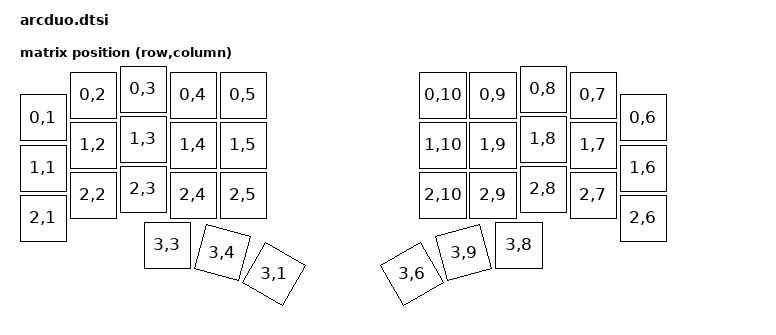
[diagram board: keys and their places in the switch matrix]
#include <dt-bindings/zmk/matrix_transform.h>
#include <dt-bindings/zmk/input_transform.h>
#include <physical_layouts.dtsi>
#include <input/processors.dtsi>

// Axis-locked scrolling. kot149/zmk-scroll-snap, pinned in config/west.yml.
#include <scroll-snap.dtsi>

// Layer names for the per-layer listener children below. The path is relative
// on purpose: this file is a shield, and the shield directory is not
// necessarily on the devicetree include path, whereas "../../../config/..."
// resolves the same way in CI, in the Docker recipe in README.md, and when this
// repo is consumed as a ZMK module.
#include "../../../config/arcduo_layers.h"

/ {
  chosen {
    zmk,kscan = &kscan0;
    zmk,physical-layout = &default_layout;
  };

  default_layout: default_layout {
    compatible = "zmk,physical-layout";
    display-name = "Default";
    transform = <&default_transform>;
    keys  //                     w   h    x    y     rot    rx    ry
        = <&key_physical_attrs 100 100    0   57       0     0     0>
        , <&key_physical_attrs 100 100  100   12       0     0     0>
        , <&key_physical_attrs 100 100  200    0       0     0     0>
        , <&key_physical_attrs 100 100  300   12       0     0     0>
        , <&key_physical_attrs 100 100  400   12       0     0     0>
        , <&key_physical_attrs 100 100  800   12       0     0     0>
        , <&key_physical_attrs 100 100  900   12       0     0     0>
        , <&key_physical_attrs 100 100 1000    0       0     0     0>
        , <&key_physical_attrs 100 100 1100   12       0     0     0>
        , <&key_physical_attrs 100 100 1200   57       0     0     0>
        , <&key_physical_attrs 100 100    0  158       0     0     0>
        , <&key_physical_attrs 100 100  100  112       0     0     0>
        , <&key_physical_attrs 100 100  200  100       0     0     0>
        , <&key_physical_attrs 100 100  300  112       0     0     0>
        , <&key_physical_attrs 100 100  400  112       0     0     0>
        , <&key_physical_attrs 100 100  800  112       0     0     0>
        , <&key_physical_attrs 100 100  900  112       0     0     0>
        , <&key_physical_attrs 100 100 1000  100       0     0     0>
        , <&key_physical_attrs 100 100 1100  112       0     0     0>
        , <&key_physical_attrs 100 100 1200  158       0     0     0>
        , <&key_physical_attrs 100 100    0  258       0     0     0>
        , <&key_physical_attrs 100 100  100  212       0     0     0>
        , <&key_physical_attrs 100 100  200  200       0     0     0>
        , <&key_physical_attrs 100 100  300  212       0     0     0>
        , <&key_physical_attrs 100 100  400  212       0     0     0>
        , <&key_physical_attrs 100 100  800  212       0     0     0>
        , <&key_physical_attrs 100 100  900  212       0     0     0>
        , <&key_physical_attrs 100 100 1000  200       0     0     0>
        , <&key_physical_attrs 100 100 1100  212       0     0     0>
        , <&key_physical_attrs 100 100 1200  258       0     0     0>
        , <&key_physical_attrs 100 100  248  312       0     0     0>
        , <&key_physical_attrs 100 100  248  312    1500   298   790>
        , <&key_physical_attrs 100 100  248  312    3000   298   790>
        , <&key_physical_attrs 100 100  952  312 (-3000)  1002   790>
        , <&key_physical_attrs 100 100  952  312 (-1500)  1002   790>
        , <&key_physical_attrs 100 100  952  312       0     0     0>
        ;
    };

  default_transform: keymap_transform0 {
    compatible = "zmk,matrix-transform";
    columns = <10>;
    rows = <4>;
    map = <
RC(0,1) RC(0,2) RC(0,3) RC(0,4) RC(0,5)  RC(0,10) RC(0,9) RC(0,8) RC(0,7) RC(0,6)
RC(1,1) RC(1,2) RC(1,3) RC(1,4) RC(1,5)  RC(1,10) RC(1,9) RC(1,8) RC(1,7) RC(1,6)
RC(2,1) RC(2,2) RC(2,3) RC(2,4) RC(2,5)  RC(2,10) RC(2,9) RC(2,8) RC(2,7) RC(2,6)
        RC(3,3) RC(3,4) RC(3,1)  RC(3,6) RC(3,9) RC(3,8)
    >;
  };

  kscan0: kscan {
    diode-direction = "row2col";

    // Required for CONFIG_ZMK_SLEEP=y to be usable: without this the matrix
    // GPIOs are not configured as wakeup sources, so a half that has entered
    // deep sleep cannot be woken by pressing a key.
    wakeup-source;
  };
};


/ {
  split_inputs {
    #address-cells = <1>;
    #size-cells = <0>;

    trackball_split: trackball_split@0 {
      compatible = "zmk,input-split";
      reg = <0>;
    };
    trackball_split2: trackball_split2@1 {
      compatible = "zmk,input-split";
      reg = <1>;
    };
  };

  // No auto-mouse layer.
  //
  // A zip_temp_layer instance used to sit at the end of the cursor ball's
  // processor chain, switching to the MOUSE layer on any motion. It was
  // removed because zip_temp_layer reacts to *any* input event, including
  // the single-count jitter a sensitive optical sensor produces from desk
  // vibration -- so the layer changed under you at random.
  //
  // Guarding it with require-prior-idle-ms only covered vibration that
  // happened just after a keystroke, not while the board sat idle, and the
  // alternative (desensitising the sensor) cost pointer responsiveness.
  // Dropping the auto-layer keeps the sensor fast: jitter now shows up as
  // harmless sub-pixel cursor noise instead of a layer change.
  //
  // The MOUSE layer is unchanged. It is now a toggle rather than a hold --
  // hold EXTRAS on the right inner thumb (33) and tap the left-click thumb
  // (31) to lock it on, tap 33 to leave -- but nothing in this file depends on
  // how it is reached, only on whether it is active.

  trackball_listener: trackball_listener {
    compatible = "zmk,input-listener";
    status = "disabled";
    device = <&trackball_split>;
    input-processors =
        <&zip_xy_transform (INPUT_TRANSFORM_Y_INVERT | INPUT_TRANSFORM_X_INVERT | INPUT_TRANSFORM_XY_SWAP)>,
        <&zip_xy_scaler 2 3>;

    // Snipe mode: while the MOUSE layer is on (hold 33, tap 31) the cursor
    // ball slows to a quarter speed for pixel work. The mouse buttons on that
    // layer sit under the left hand, so you can snipe and click at the same
    // time -- and because MOUSE is a toggle rather than a hold, no thumb is
    // tied up holding it.
    //
    // `process-next` is required, not cosmetic: without it the base
    // processors above are skipped entirely (input_listener.c returns early),
    // which would drop zip_xy_transform and leave the axes inverted/swapped
    // while sniping. With it, the override runs first and the base chain
    // still runs, so the ratios multiply:
    //     1200 CPI * 1/4 (here) * 2/3 (base) = 200 CPI effective
    //
    // This was previously dead code gated on layer 6, and used 1/16 -- which
    // would have compounded to ~50 CPI, far too slow to be usable.
    // Both scalers track remainders, so slow movement accumulates rather
    // than being rounded away.
    precision {
      layers = <L_MOUSE>;
      input-processors = <&zip_xy_scaler 1 4>;
      process-next;
    };

    // There is deliberately no NAV override on this ball any more.
    //
    // A `scroll` child used to sit here, turning the cursor ball into a scroll
    // wheel whenever NAV was held, mirroring the UHK's TrackballRight
    // (navigationModeModLayer = "Scroll"). Its twin on the other listener made
    // the left ball the pointer, so the two swapped roles on NAV exactly as the
    // UHK does on its Mod layer.
    //
    // Removed, because it was parity for its own sake and it cost real
    // function. It added no capability: BASE already gives scroll and pointer
    // at the same time, one on each ball, so the swap only exchanged which hand
    // did which. What it did do was make click-and-drag impossible -- holding
    // the left-click thumb raises NAV, so the ball you were dragging with
    // turned into a scroll wheel mid-gesture.
    //
    // Keeping both was possible: a flag layer raised alongside NAV, given
    // priority over the swap by declaration order. It worked and was dropped as
    // not worth a whole layer plus two listener children to preserve a
    // behaviour nobody used. Git history has it if the swap is ever wanted
    // back; the honest cost of not having it is that with the left hand off the
    // board the right hand alone can point but not scroll.
  };

  trackball_listener2: trackball_listener2 {
    compatible = "zmk,input-listener";
    status = "disabled";
    device = <&trackball_split2>;
    // &zip_scroll_snap sits between the mapper and the scaler, which is the
    // order its README requires. Without it a ball rolled "down" also emits the
    // X component of the roll as horizontal wheel, and there is always some: on
    // macOS that shows up as sideways drift in wide views, and in Chrome a
    // horizontal wheel is history navigation, so a scroll occasionally goes back
    // a page. Snapping locks each gesture to its dominant axis.
    //
    // Tunables if it feels wrong -- x-threshold, y-threshold, lock-duration-ms,
    // idle-reset-timeout-ms -- are properties on the &zip_scroll_snap node and
    // are left at their defaults here.
    input-processors =
        <&zip_xy_transform (INPUT_TRANSFORM_XY_SWAP)>,
        <&zip_xy_to_scroll_mapper>,
        <&zip_scroll_snap>,
        <&zip_scroll_scaler 1 16>;

    // No NAV override on this ball either, for the same reason as the other
    // listener: a `cursor` child used to make the left ball the pointer while
    // NAV was held, the other half of the UHK's Mod-layer ball swap. It went
    // with its twin.
    //
    // So both balls now keep one job on every layer -- this one scrolls, the
    // right one points -- and the only per-layer override left is `precision`
    // on MOUSE, which slows the pointer for sniping rather than repurposing it.
  };
};
